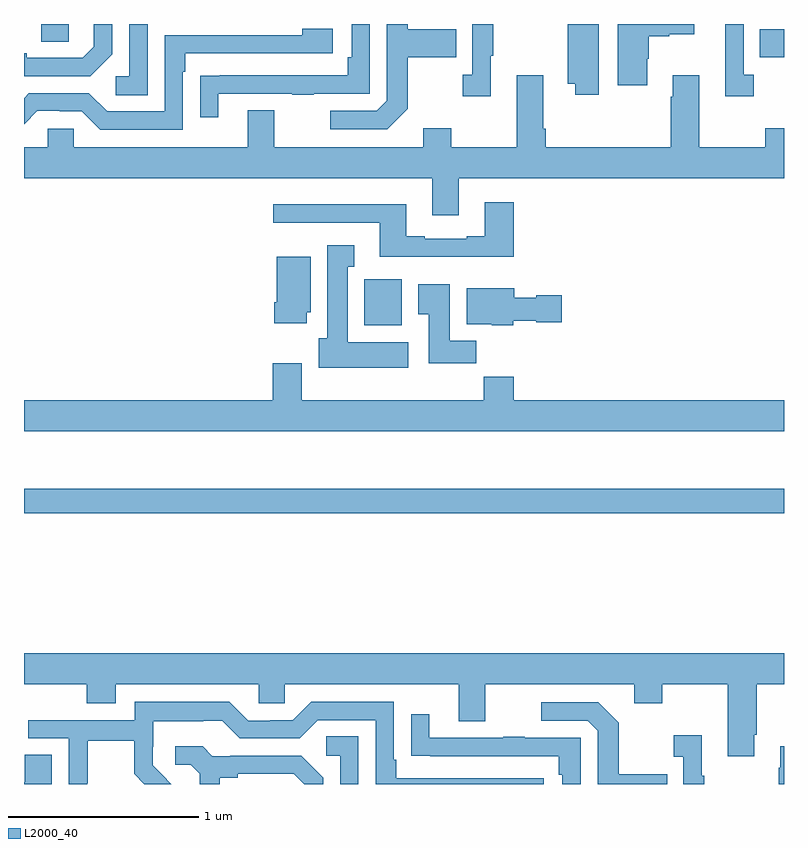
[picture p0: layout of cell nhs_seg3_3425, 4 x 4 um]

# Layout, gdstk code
import gdstk
lib = gdstk.Library(unit=1e-6, precision=1e-09)
def R(c, l, rs):  # rectangles x0, y0, x1, y1
    for r in rs: c.add(gdstk.rectangle(r[:2], r[2:], *l))
def P(c, l, *ps):  # polygons
    for p in ps: c.add(gdstk.Polygon(p, *l))
L2000_40 = (2000, 40)

nhs_seg3_3425 = lib.new_cell('nhs_seg3_3425')
R(nhs_seg3_3425, L2000_40, [(289,693.826,293,693.955), (290.792,694.814,290.989,695.056), (292.873,696.226,293,696.373), (289.091,696.307,289.236,696.4)])
P(nhs_seg3_3425, L2000_40, [(292.024,696.4),(291.862,696.4),(291.862,696.086),(291.902,696.086),(291.902,696.027),(292.024,696.027)],
  [(289.65,696.4),(289.554,696.4),(289.554,696.126),(289.482,696.126),(289.482,696.025),(289.65,696.025)],
  [(289.464,696.242),(289.464,696.4),(289.367,696.4),(289.367,696.279),(289.31,696.222),(289.015,696.222),(289.015,696.245),(289,696.245),(289,696.126),(289.348,696.126)],
  [(291.457,696.233),(291.469,696.233),(291.469,696.4),(291.36,696.4),(291.36,696.134),(291.309,696.134),(291.309,696.021),(291.457,696.021)],
  [(292.84,696.134),(292.788,696.134),(292.788,696.4),(292.691,696.4),(292.691,696.021),(292.84,696.021)],
  [(292.279,696.217),(292.287,696.217),(292.287,696.335),(292.395,696.335),(292.395,696.347),(292.528,696.347),(292.528,696.4),(292.124,696.4),(292.124,696.078),(292.279,696.078)],
  [(291.019,695.953),(291.019,696.226),(291.275,696.226),(291.275,696.373),(291.019,696.373),(291.019,696.4),(290.91,696.4),(290.91,695.997),(290.856,695.943),(290.613,695.943),(290.613,695.847),(290.913,695.847)],
  [(290.023,696.033),(290.413,696.033),(290.413,696.028),(290.525,696.028),(290.525,696.033),(290.82,696.033),(290.82,696.4),(290.724,696.4),(290.724,696.226),(290.704,696.226),(290.704,696.129),(290.029,696.129),(290.029,696.128),(289.927,696.128),(289.927,695.91),(290.023,695.91)],
  [(289.836,696.149),(289.849,696.149),(289.849,696.246),(290.626,696.246),(290.626,696.376),(290.465,696.376),(290.465,696.342),(289.74,696.342),(289.74,695.94),(289.437,695.94),(289.341,696.036),(289.026,696.036),(289,696.01),(289,695.872),(289.071,695.943),(289.187,695.943),(289.187,695.94),(289.305,695.94),(289.401,695.844),(289.836,695.844)],
  [(291.289,695.588),(293,695.588),(293,695.851),(292.9,695.851),(292.9,695.752),(292.555,695.752),(292.555,696.13),(292.415,696.13),(292.415,696.017),(292.403,696.017),(292.403,695.752),(291.746,695.752),(291.746,695.848),(291.733,695.848),(291.733,696.13),(291.593,696.13),(291.593,695.752),(291.249,695.752),(291.249,695.851),(291.101,695.851),(291.101,695.752),(290.317,695.752),(290.317,695.947),(290.177,695.947),(290.177,695.752),(289.263,695.752),(289.263,695.85),(289.125,695.85),(289.125,695.752),(289,695.752),(289,695.588),(291.149,695.588),(291.149,695.394),(291.289,695.394)],
  [(291.578,695.461),(291.425,695.461),(291.425,695.284),(291.329,695.284),(291.329,695.271),(291.109,695.271),(291.109,695.284),(291.013,695.284),(291.013,695.452),(290.313,695.452),(290.313,695.355),(290.873,695.355),(290.873,695.174),(291.578,695.174)],
  [(291.022,694.726),(290.704,694.726),(290.704,695.123),(290.737,695.123),(290.737,695.236),(290.597,695.236),(290.597,694.746),(290.552,694.746),(290.552,694.592),(291.022,694.592)],
  [(290.488,694.884),(290.509,694.884),(290.509,695.176),(290.33,695.176),(290.33,694.936),(290.318,694.936),(290.318,694.824),(290.488,694.824)],
  [(291.38,694.732),(291.241,694.732),(291.241,695.029),(291.074,695.029),(291.074,694.873),(291.131,694.873),(291.131,694.614),(291.38,694.614)],
  [(291.576,694.838),(291.696,694.838),(291.696,694.831),(291.829,694.831),(291.829,694.973),(291.696,694.973),(291.696,694.96),(291.58,694.96),(291.58,695.008),(291.329,695.008),(291.329,694.82),(291.462,694.82),(291.462,694.814),(291.576,694.814)],
  [(293,694.42),(291.578,694.42),(291.578,694.544),(291.421,694.544),(291.421,694.42),(290.461,694.42),(290.461,694.615),(290.309,694.615),(290.309,694.42),(289,694.42),(289,694.256),(293,694.256)],
  [(292.843,692.659),(292.856,692.659),(292.856,692.924),(293,692.924),(293,693.088),(289,693.088),(289,692.924),(289.331,692.924),(289.331,692.825),(289.483,692.825),(289.483,692.924),(290.235,692.924),(290.235,692.826),(290.373,692.826),(290.373,692.924),(291.287,692.924),(291.287,692.73),(291.427,692.73),(291.427,692.924),(292.211,692.924),(292.211,692.825),(292.359,692.825),(292.359,692.924),(292.703,692.924),(292.703,692.547),(292.843,692.547)],
  [(289.332,692.404),(289.335,692.404),(289.335,692.628),(289.579,692.628),(289.579,692.453),(289.632,692.4),(289.774,692.4),(289.751,692.423),(289.752,692.424),(289.678,692.498),(289.678,692.595),(289.68,692.595),(289.68,692.729),(289.943,692.729),(289.943,692.733),(290.043,692.733),(290.136,692.64),(290.451,692.64),(290.547,692.736),(290.85,692.736),(290.85,692.4),(291.736,692.4),(291.736,692.43),(290.959,692.43),(290.959,692.527),(290.946,692.527),(290.946,692.832),(290.511,692.832),(290.415,692.736),(290.297,692.736),(290.297,692.733),(290.181,692.733),(290.081,692.833),(289.584,692.833),(289.584,692.736),(289.023,692.736),(289.023,692.64),(289.236,692.64),(289.236,692.4),(289.332,692.4)],
  [(292.385,692.451),(292.129,692.451),(292.129,692.723),(292.023,692.829),(291.723,692.829),(291.723,692.733),(291.966,692.733),(292.02,692.679),(292.02,692.4),(292.385,692.4)],
  [(291.93,692.643),(291.635,692.643),(291.635,692.648),(291.523,692.648),(291.523,692.643),(291.133,692.643),(291.133,692.767),(291.037,692.767),(291.037,692.548),(291.139,692.548),(291.139,692.547),(291.814,692.547),(291.814,692.45),(291.834,692.45),(291.834,692.4),(291.93,692.4)],
  [(292.579,692.443),(292.567,692.443),(292.567,692.656),(292.419,692.656),(292.419,692.543),(292.47,692.543),(292.47,692.4),(292.579,692.4)],
  [(290.76,692.651),(290.592,692.651),(290.592,692.55),(290.664,692.55),(290.664,692.4),(290.76,692.4)],
  [(293,692.599),(292.979,692.599),(292.979,692.486),(292.972,692.486),(292.972,692.4),(293,692.4)],
  [(290.029,692.432),(290.125,692.432),(290.125,692.454),(290.42,692.454),(290.474,692.4),(290.574,692.4),(290.574,692.434),(290.458,692.55),(290.086,692.55),(290.086,692.547),(289.992,692.547),(289.94,692.599),(289.797,692.599),(289.797,692.502),(289.878,692.502),(289.925,692.455),(289.925,692.4),(290.029,692.4)],
  [(289.147,692.555),(289.004,692.555),(289.004,692.408),(289,692.408),(289,692.4),(289.147,692.4)])

lib.write_gds('nhs_seg3_3425.gds')
